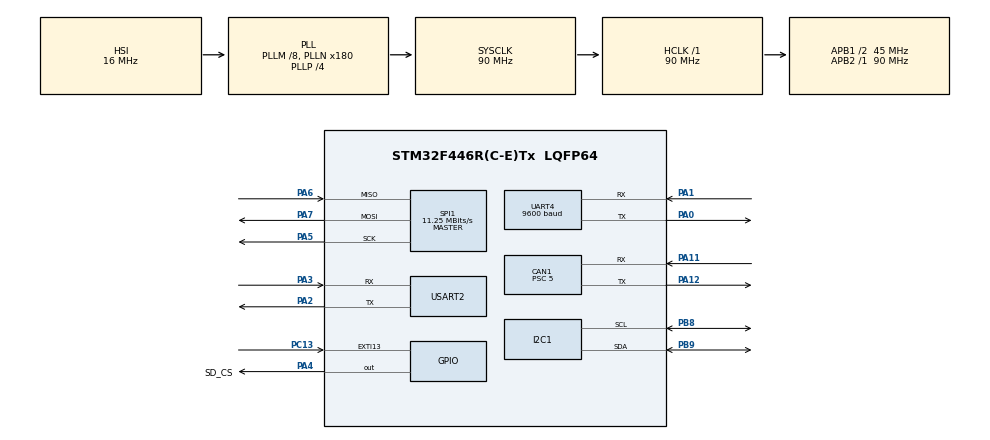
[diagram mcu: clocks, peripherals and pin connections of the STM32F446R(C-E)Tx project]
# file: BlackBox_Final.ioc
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CAN1.BS1=CAN_BS1_13TQ
CAN1.BS2=CAN_BS2_4TQ
CAN1.CalculateBaudRate=500000
CAN1.CalculateTimeBit=2000
CAN1.CalculateTimeQuantum=111.11111111111111
CAN1.Mode=CAN_MODE_LOOPBACK
CAN1.Prescaler=5
I2C1.I2C_Mode=I2C_Fast
Mcu.Family=STM32F4
Mcu.Name=STM32F446R(C-E)Tx
Mcu.Package=LQFP64
NVIC.EXTI15_10_IRQn=true\:0\:0\:false\:false\:true\:true\:true\:true
NVIC.PriorityGroup=NVIC_PRIORITYGROUP_4
PA0-WKUP.Mode=Asynchronous
PA0-WKUP.Signal=UART4_TX
PA1.Mode=Asynchronous
PA1.Signal=UART4_RX
PA11.Mode=CAN_Activate
PA11.Signal=CAN1_RX
PA12.Mode=CAN_Activate
PA12.Signal=CAN1_TX
PA2.Mode=Asynchronous
PA2.Signal=USART2_TX
PA3.Mode=Asynchronous
PA3.Signal=USART2_RX
PA4.GPIO_Label=SD_CS
PA4.Signal=GPIO_Output
PA5.Mode=Full_Duplex_Master
PA5.Signal=SPI1_SCK
PA6.Mode=Full_Duplex_Master
PA6.Signal=SPI1_MISO
PA7.Mode=Full_Duplex_Master
PA7.Signal=SPI1_MOSI
PB8.Mode=I2C
PB8.Signal=I2C1_SCL
PB9.Mode=I2C
PB9.Signal=I2C1_SDA
PC13.GPIO_ModeDefaultEXTI=GPIO_MODE_IT_FALLING
PC13.GPIO_PuPd=GPIO_PULLUP
PC13.Signal=GPXTI13
ProjectManager.HeapSize=0x200
ProjectManager.StackSize=0x400
ProjectManager.TargetToolchain=STM32CubeIDE
RCC.AHBFreq_Value=90000000
RCC.APB1CLKDivider=RCC_HCLK_DIV2
RCC.APB1Freq_Value=45000000
RCC.APB1TimFreq_Value=90000000
RCC.APB2Freq_Value=90000000
RCC.APB2TimFreq_Value=90000000
RCC.CortexFreq_Value=90000000
RCC.HCLKFreq_Value=90000000
RCC.PLLM=8
RCC.PLLN=180
RCC.PLLP=RCC_PLLP_DIV4
RCC.SYSCLKFreq_VALUE=90000000
RCC.SYSCLKSource=RCC_SYSCLKSOURCE_PLLCLK
RCC.USBFreq_Value=180000000
RCC.VCOOutputFreq_Value=360000000
SPI1.BaudRatePrescaler=SPI_BAUDRATEPRESCALER_8
SPI1.CalculateBaudRate=11.25 MBits/s
SPI1.Direction=SPI_DIRECTION_2LINES
SPI1.Mode=SPI_MODE_MASTER
SPI1.VirtualType=VM_MASTER
UART4.BaudRate=9600
UART4.VirtualMode=Asynchronous
USART2.VirtualMode=VM_ASYNC
VP_FATFS_VS_Generic.Mode=User_defined
VP_RTC_VS_RTC_Activate.Mode=RTC_Enabled
VP_RTC_VS_RTC_Calendar.Mode=RTC_Calendar
board=NUCLEO-F446RE

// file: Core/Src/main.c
/* USER CODE BEGIN Header */
/**
 ******************************************************************************
 * @file           : main.c
 * @brief          : Main program body
 ******************************************************************************
 * @attention
 *
 * Copyright (c) 2026 STMicroelectronics.
 * All rights reserved.
 *
 * This software is licensed under terms that can be found in the LICENSE file
 * in the root directory of this software component.
 * If no LICENSE file comes with this software, it is provided AS-IS.
 *
 ******************************************************************************
 */
/* USER CODE END Header */
#include "main.h"
#include "can.h"
#include "fatfs.h"
#include "i2c.h"
#include "rtc.h"
#include "spi.h"
#include "usart.h"
#include "gpio.h"

/* USER CODE BEGIN Includes */

#include <string.h>
#include <stdio.h>
#include "ssd1306.h"
#include "ssd1306_fonts.h"
#include "fatfs.h"
#include "mpu6050.h"
#include <math.h>

/* USER CODE END Includes */

/* USER CODE BEGIN PTD */
typedef struct
{
    float lat;
    float lon;
    float speed_kph;
    uint8_t has_fix;
} GPS_Data;
/* USER CODE END PTD */

/* USER CODE BEGIN PV */
FATFS fs;
FIL fil;
FRESULT res;
UINT bw;
MPU6050_t myMPU;

static uint8_t rtc_set_from_gps = 0;
uint8_t file_is_open = 0;
volatile uint8_t system_running = 1; // Prevent an infinite loop when interrupt trigger is pulled
char filename[20];
RTC_TimeTypeDef sTime;
RTC_DateTypeDef sDate;

// MPU6050
float Ax_offset = 0.0, Ay_offset = 0.0, Az_offset = 0.0;
float alpha = 0.5;
float Ax = 0.0, Ay = 0.0, Az_filt = 0.0;
float max_ax = 0.0, max_ay = 0.0;

MPU6050_t MPU6050;
GPS_Data currentGPS;
char gps_raw_buffer[120];
int buffer_idx = 0;

// CAN BUS
uint32_t rpm = 0;
float throttle = 0.0;
uint8_t vtec_on = 0;
/* USER CODE END PV */

void SystemClock_Config(void);

/* USER CODE BEGIN 0 */
#ifdef __GNUC__
#define PUTCHAR_PROTOTYPE int __io_putchar(int ch)
#else
#define PUTCHAR_PROTOTYPE int fputc(int ch, FILE *f)
#endif

PUTCHAR_PROTOTYPE
{
    HAL_UART_Transmit(&huart2, (uint8_t *)&ch, 1, 0xFFFF);
    return ch;
}
float nmea_to_dec(float nmea)
{
    int deg = (int)(nmea / 100);
    float min = nmea - (deg * 100);
    return (float)deg + (min / 60.0f);
}

void process_gps_line(char *line)
{
    if (strstr(line, "$GPRMC"))
    {
        char *ptr = line;
        int field = 0;
        char time_str[12] = {0};  // capture UTC time
        char date_str[8] = {0};
        char *token = strtok(ptr, ",");

        while (token != NULL)
        {
            field++;
            if (field == 2) strncpy(time_str, token, sizeof(time_str) - 1);
            if (field == 3) {
                currentGPS.has_fix = (*token == 'A');
            }
            if (field == 4 && currentGPS.has_fix)
                currentGPS.lat = nmea_to_dec(atof(token));
            if (field == 6 && currentGPS.has_fix)
                currentGPS.lon = nmea_to_dec(atof(token));
            if (field == 7 && currentGPS.has_fix && *token == 'W')
                currentGPS.lon *= -1.0f;
            if (field == 8 && currentGPS.has_fix)
                currentGPS.speed_kph = atof(token) * 1.852f;
            if (field == 10) strncpy(date_str, token, sizeof(date_str) - 1);
            	token = strtok(NULL, ",");
        }

        // Set RTC once from GPS after fix confirmed
        if (currentGPS.has_fix && !rtc_set_from_gps && strlen(time_str) >= 6)
        {
            RTC_TimeTypeDef gpsTime = {0};
            int utc_hours = (time_str[0] - '0') * 10 + (time_str[1] - '0');
            utc_hours -= 4;
            if (utc_hours < 0) utc_hours += 24;
            gpsTime.Hours   = utc_hours;
            gpsTime.Minutes = (time_str[2] - '0') * 10 + (time_str[3] - '0');
            gpsTime.Seconds = (time_str[4] - '0') * 10 + (time_str[5] - '0');
            gpsTime.DayLightSaving = RTC_DAYLIGHTSAVING_NONE;
            gpsTime.StoreOperation = RTC_STOREOPERATION_RESET;
            HAL_RTC_SetTime(&hrtc, &gpsTime, RTC_FORMAT_BIN);

            // ADD THE DATE CODE HERE
            RTC_DateTypeDef gpsDate = {0};
            gpsDate.Date    = (date_str[0] - '0') * 10 + (date_str[1] - '0');
            gpsDate.Month   = (date_str[2] - '0') * 10 + (date_str[3] - '0');
            gpsDate.Year    = (date_str[4] - '0') * 10 + (date_str[5] - '0');
            gpsDate.WeekDay = RTC_WEEKDAY_FRIDAY;
            HAL_RTC_SetDate(&hrtc, &gpsDate, RTC_FORMAT_BIN);
            sDate = gpsDate;

            sprintf(filename, "%02d%02d%02d%02d.csv",
                    sDate.Month, sDate.Date,
                    gpsTime.Hours, gpsTime.Minutes);

            rtc_set_from_gps = 1;
            if (file_is_open) {
                f_sync(&fil);
                f_close(&fil);
                file_is_open = 0;
            }
            if (f_open(&fil, filename, FA_CREATE_ALWAYS | FA_WRITE) == FR_OK) {
                f_puts("Time,Ax,Ay,Az,Lat,Lon,Spd,RPM,Throttle,VTEC\n", &fil);
                f_sync(&fil);
                file_is_open = 1;
                printf("Reopened log: %s\r\n", filename);
            }
            printf("RTC synced from GPS: %02d:%02d:%02d local\r\n",
                   gpsTime.Hours, gpsTime.Minutes, gpsTime.Seconds);
            printf("New filename: %s\r\n", filename);
        }
    }
}
/* USER CODE END 0 */

int main(void)
{

    /* MCU Configuration--------------------------------------------------------*/

    /* Reset of all peripherals, Initializes the Flash interface and the Systick. */
    HAL_Init();

    /* Configure the system clock */
    SystemClock_Config();

    /* Initialize all configured peripherals */
    MX_GPIO_Init();
    MX_I2C1_Init();
    MX_FATFS_Init();
    MX_CAN1_Init();
    MX_USART2_UART_Init();
    MX_SPI1_Init();
    MX_UART4_Init();
    MX_RTC_Init();
    /* USER CODE BEGIN 2 */
    printf("\r\n=== Automotive Black Box V1.0 ===\r\n");
    printf("Initializing...\r\n\r\n");

    // ============================================================================
    // CAN INITIALIZATION
    // ============================================================================
    printf("CAN Setup:\r\n");
    printf("  APB1 Clock: %lu Hz\r\n", HAL_RCC_GetPCLK1Freq());

    // Configure CAN filter to accept all messages
    // By setting the mask to 0x0000 it will accept all CAN messages, wasting resources
    // This will NOT be done in the finalized / production version
    CAN_FilterTypeDef sFilterConfig;
    sFilterConfig.FilterBank = 0;
    sFilterConfig.FilterMode = CAN_FILTERMODE_IDMASK;
    sFilterConfig.FilterScale = CAN_FILTERSCALE_32BIT;
    sFilterConfig.FilterIdHigh = 0x0000;
    sFilterConfig.FilterIdLow = 0x0000;
    sFilterConfig.FilterMaskIdHigh = 0x0000;
    sFilterConfig.FilterMaskIdLow = 0x0000;
    sFilterConfig.FilterFIFOAssignment = CAN_RX_FIFO0;
    sFilterConfig.FilterActivation = ENABLE;
    sFilterConfig.SlaveStartFilterBank = 14;

    if (HAL_CAN_ConfigFilter(&hcan1, &sFilterConfig) != HAL_OK)
    {
        printf("  ERROR: CAN filter failed\r\n");
        Error_Handler();
    }

    // Start CAN peripheral
    if (HAL_CAN_Start(&hcan1) != HAL_OK)
    {
        printf("  WARNING: CAN start failed - transceiver disabled\r\n");
        // Pull STM32 TX pin low-impedance to recessive state
        // Reconfigure PA12 as output high to force recessive
        GPIO_InitTypeDef GPIO_InitStruct = {0};
        GPIO_InitStruct.Pin = GPIO_PIN_12;
        GPIO_InitStruct.Mode = GPIO_MODE_OUTPUT_PP;
        GPIO_InitStruct.Pull = GPIO_PULLUP;
        GPIO_InitStruct.Speed = GPIO_SPEED_FREQ_LOW;
        HAL_GPIO_Init(GPIOA, &GPIO_InitStruct);
        HAL_GPIO_WritePin(GPIOA, GPIO_PIN_12, GPIO_PIN_SET); // Force recessive
    }

else
{
    printf("  CAN ready for car connection\r\n");
}
printf("\r\n");

// ============================================================================
// MPU6050 & OLED INITIALIZATION
// ============================================================================
printf("Sensors:\r\n");
MPU6050_Init(&hi2c1);
printf("  MPU6050: OK\r\n");

ssd1306_Init();
ssd1306_Fill(Black);
ssd1306_SetCursor(2, 0);
ssd1306_WriteString("BLACK BOX V1.0", Font_7x10, White);
ssd1306_SetCursor(2, 12);
ssd1306_WriteString("CALIBRATING...", Font_7x10, White);
ssd1306_UpdateScreen();

// ============================================================================
// ACCELEROMETER CALIBRATION - MPU6050
// Utlizing an averaging filter, it takes 100 samples and divides by 100 to find the average offset
// Said offset is subtracted from the actual readings
// ============================================================================
printf("  Calibrating accelerometer...\r\n");
float sumX = 0, sumY = 0, sumZ = 0;
int samples = 100;

for (int i = 0; i < samples; i++)
{
    MPU6050_Read_Accel(&hi2c1, &myMPU);
    sumX += myMPU.Ax;
    sumY += myMPU.Ay;
    sumZ += (myMPU.Az - 1.0f);
    HAL_Delay(10);
}

Ax_offset = sumX / samples;
Ay_offset = sumY / samples;
Az_offset = sumZ / samples;
printf("  Calibration complete (offsets: %.2f, %.2f, %.2f)\r\n\r\n",
       Ax_offset, Ay_offset, Az_offset);

ssd1306_Fill(Black);
ssd1306_SetCursor(2, 0);
ssd1306_WriteString("BLACK BOX", Font_7x10, White);
ssd1306_SetCursor(2, 12);
ssd1306_WriteString("READY", Font_11x18, White);
ssd1306_UpdateScreen();
HAL_Delay(1000);

// ============================================================================
// GPS INITIALIZATION
// ============================================================================
memset(&currentGPS, 0, sizeof(currentGPS));
printf("GPS: Waiting for fix...\r\n\r\n");

// ============================================================================
// RTC & FILENAME SETUP
// ============================================================================
HAL_RTC_GetTime(&hrtc, &sTime, RTC_FORMAT_BIN);
HAL_RTC_GetDate(&hrtc, &sDate, RTC_FORMAT_BIN);

sprintf(filename, "%02d%02d%02d%02d.csv",
        sDate.Month, sDate.Date, sTime.Hours, sTime.Minutes);

// ============================================================================
// SD CARD INITIALIZATION
// ============================================================================
printf("Storage:\r\n");
printf("  Filename: %s\r\n", filename);

HAL_Delay(500);
res = f_mount(&fs, "", 1); // Waking up the SD card
                           // Sends SPI commands to the card to verify its formatting and to locate it's root directory
                           // upon failure, the logging aspect will be skipped rather than the whole system crashing

// In your SD Card init section, change the f_open block to:
if (f_open(&fil, filename, FA_CREATE_ALWAYS | FA_WRITE) == FR_OK)
{
    f_puts("Time,Ax,Ay,Az,Lat,Lon,Spd,RPM,Throttle,VTEC\n", &fil);
    f_sync(&fil);
    file_is_open = 1; // <-- SET THE GUARD FLAG
    printf("  SD Card: Ready & File Opened\r\n");
}
else
{
    printf("  SD Card: File creation failed\r\n");
    file_is_open = 0;
}

printf("\r\n=== System Ready ===\r\n");
printf("Connect to car OBD port and start engine\r\n");
printf("Monitoring CAN bus for messages...\r\n\r\n");

// Clear OLED for runtime display
ssd1306_Fill(Black);
ssd1306_UpdateScreen();

/* USER CODE END 2 */

/* Infinite loop */
/* USER CODE BEGIN WHILE */
while (system_running)
{

    // 1. HEARTBEAT LED
    static uint32_t last_blink = 0;
    if (HAL_GetTick() - last_blink >= 250)
    {
        last_blink = HAL_GetTick();
        HAL_GPIO_TogglePin(GPIOA, GPIO_PIN_5);
    }

    // 2. CAN RECEIVE - Check for messages from car
    if (HAL_CAN_GetRxFifoFillLevel(&hcan1, CAN_RX_FIFO0) > 0)
    {
        CAN_RxHeaderTypeDef rxHeader;
        uint8_t rxData[8];

        if (HAL_CAN_GetRxMessage(&hcan1, CAN_RX_FIFO0, &rxHeader, rxData) == HAL_OK)
        {
            // Print all received messages for debugging
           // printf("CAN RX: ID=0x%03lX Data=", rxHeader.StdId);
            for (int i = 0; i < rxHeader.DLC; i++)
            {
             //   printf("%02X ", rxData[i]);
            }
            //printf("\r\n");

            // Parse Honda RPM (ID 0x158, bytes 2-3)
            // Example of Bit-Shifting
            if (rxHeader.StdId == 0x158)
            {
                rpm = (rxData[2] << 8) | rxData[3]; // Take high byte and physically shift its binary 1s and 0s eight places to the left, making space for low byte
              //  printf("  -> RPM: %lu\r\n", rpm);
            }

            // Parse standard OBD-II RPM response (ID 0x7E8)
            if (rxHeader.StdId == 0x7E8 && rxData[1] == 0x41 && rxData[2] == 0x0C)
            {
                rpm = ((rxData[3] << 8) | rxData[4]) / 4;
                //printf("  -> RPM (OBD): %lu\r\n", rpm);
            }
        }
    }

    // 3. ACCELEROMETER - Read G-forces
    // HAL_Delay is avoided as it literally stops the CPU clock, missing many messages
    static uint32_t last_accel = 0;
    if (HAL_GetTick() - last_accel >= 20)
    {
        last_accel = HAL_GetTick();

        MPU6050_Read_Accel(&hi2c1, &myMPU);
        Ax = myMPU.Ax - Ax_offset;
        Ay = myMPU.Ay - Ay_offset;
        Az_filt = myMPU.Az - Az_offset;
    }

    // 4. GPS - Read location data
    uint8_t gps_byte;
    if (HAL_UART_Receive(&huart4, &gps_byte, 1, 0) == HAL_OK)
    {
        if (gps_byte == '\n')
        {
            gps_raw_buffer[buffer_idx] = '\0';
            process_gps_line(gps_raw_buffer);
            buffer_idx = 0;
        }
        else if (buffer_idx < sizeof(gps_raw_buffer) - 1)
        {
            gps_raw_buffer[buffer_idx++] = gps_byte;
        }
    }

    // 5. SD CARD LOGGING - Safe Caching Architecture
    static uint32_t last_log = 0;
    static uint8_t sync_counter = 0;

    if (file_is_open && (HAL_GetTick() - last_log >= 200))
    {
        last_log = HAL_GetTick();

        // Capture tick ONCE so the logged timestamp matches this sample
        uint32_t log_tick = HAL_GetTick();

        char buf[160]; // Increased from 128 to safely handle worst-case floats
        int len = snprintf(buf, sizeof(buf),
                           "%lu,%.2f,%.2f,%.2f,%.6f,%.6f,%.1f,%lu,%.1f,%d\n",
                           log_tick, Ax, Ay, Az_filt,
                           currentGPS.lat, currentGPS.lon, currentGPS.speed_kph,
                           rpm, throttle, vtec_on);

        // Guard against snprintf truncation before writing
        if (len > 0 && len < (int)sizeof(buf))
        {
            FRESULT write_res = f_write(&fil, buf, len, &bw);

            if (write_res != FR_OK || bw != (UINT)len)
            {
                // Write failed or was partial — log to UART, stop trying to write
                printf("SD WRITE ERROR: res=%d bw=%u expected=%d\r\n", write_res, bw, len);
                file_is_open = 0; // Disable further writes to prevent FAT corruption
            }
            else
            {
                sync_counter++;
                if (sync_counter >= 5)
                {
                    if (f_sync(&fil) != FR_OK)
                    {
                        printf("SD SYNC ERROR\r\n");
                        file_is_open = 0;
                    }
                    sync_counter = 0;
                }
            }
        }
    }

    // 6. OLED DISPLAY - Update screen every 200ms
    static uint32_t last_oled = 0;
    if (HAL_GetTick() - last_oled >= 200)
    {
        last_oled = HAL_GetTick();

        ssd1306_Fill(Black);
        char display_buf[20];

        // RPM - big font matching G-force
        sprintf(display_buf, "R:%lu", rpm);
        ssd1306_SetCursor(2, 0);
        ssd1306_WriteString(display_buf, Font_11x18, White); // now same size as G

        // G-force - same big font
        float max_g = (fabs(Ax) > fabs(Ay)) ? Ax : Ay;
        sprintf(display_buf, "G:%.2f", max_g);
        ssd1306_SetCursor(2, 22);
        ssd1306_WriteString(display_buf, Font_11x18, White);

        // GPS status - small font at bottom
        if (currentGPS.has_fix)
            sprintf(display_buf, "GPS:OK %.0fkph", currentGPS.speed_kph);
        else
            sprintf(display_buf, "GPS: NO FIX");
        ssd1306_SetCursor(2, 48);
        ssd1306_WriteString(display_buf, Font_7x10, White);

        ssd1306_UpdateScreen();
    }
}
/* USER CODE END WHILE */

/* USER CODE BEGIN 3 */
// And update your shutdown section (after the while loop) to:
printf("\r\nSystem halting. Closing log file safely...\r\n");
if (file_is_open)
{
    f_sync(&fil); // Final flush before close
    f_close(&fil);
    file_is_open = 0;
}
/* USER CODE END 3 */
}

void SystemClock_Config(void)
{

    RCC_OscInitTypeDef RCC_OscInitStruct = {0};
    RCC_ClkInitTypeDef RCC_ClkInitStruct = {0};

    /** Configure the main internal regulator output voltage
     */
    __HAL_RCC_PWR_CLK_ENABLE();
    __HAL_PWR_VOLTAGESCALING_CONFIG(PWR_REGULATOR_VOLTAGE_SCALE3);

    /** Initializes the RCC Oscillators according to the specified parameters
     * in the RCC_OscInitTypeDef structure.
     */
    RCC_OscInitStruct.OscillatorType = RCC_OSCILLATORTYPE_HSI | RCC_OSCILLATORTYPE_LSI;
    RCC_OscInitStruct.LSEState = RCC_LSE_OFF;
    RCC_OscInitStruct.HSIState = RCC_HSI_ON;
    RCC_OscInitStruct.HSICalibrationValue = RCC_HSICALIBRATION_DEFAULT;
    RCC_OscInitStruct.LSIState = RCC_LSI_ON;
    RCC_OscInitStruct.PLL.PLLState = RCC_PLL_ON;
    RCC_OscInitStruct.PLL.PLLSource = RCC_PLLSOURCE_HSI;
    RCC_OscInitStruct.PLL.PLLM = 8;
    RCC_OscInitStruct.PLL.PLLN = 180;
    RCC_OscInitStruct.PLL.PLLP = RCC_PLLP_DIV4;
    RCC_OscInitStruct.PLL.PLLQ = 2;
    RCC_OscInitStruct.PLL.PLLR = 2;
    if (HAL_RCC_OscConfig(&RCC_OscInitStruct) != HAL_OK)
    {
        Error_Handler();
    }

    /** Initializes the CPU, AHB and APB buses clocks
     */
    RCC_ClkInitStruct.ClockType = RCC_CLOCKTYPE_HCLK | RCC_CLOCKTYPE_SYSCLK | RCC_CLOCKTYPE_PCLK1 | RCC_CLOCKTYPE_PCLK2;
    RCC_ClkInitStruct.SYSCLKSource = RCC_SYSCLKSOURCE_PLLCLK;
    RCC_ClkInitStruct.AHBCLKDivider = RCC_SYSCLK_DIV1;
    RCC_ClkInitStruct.APB1CLKDivider = RCC_HCLK_DIV2;
    RCC_ClkInitStruct.APB2CLKDivider = RCC_HCLK_DIV1;

    if (HAL_RCC_ClockConfig(&RCC_ClkInitStruct, FLASH_LATENCY_2) != HAL_OK)
    {
        Error_Handler();
    }
}

/* USER CODE BEGIN 4 */
void HAL_GPIO_EXTI_Callback(uint16_t GPIO_Pin)
{
    if (GPIO_Pin == GPIO_PIN_13) // Check if the interrupt came from the Blue Button
    {
        system_running = 0; // This flips the flag to break your main while() loop
    }
}

/* USER CODE END 4 */

void Error_Handler(void)
{
    __disable_irq();
    while (1)
    {
    }
}
